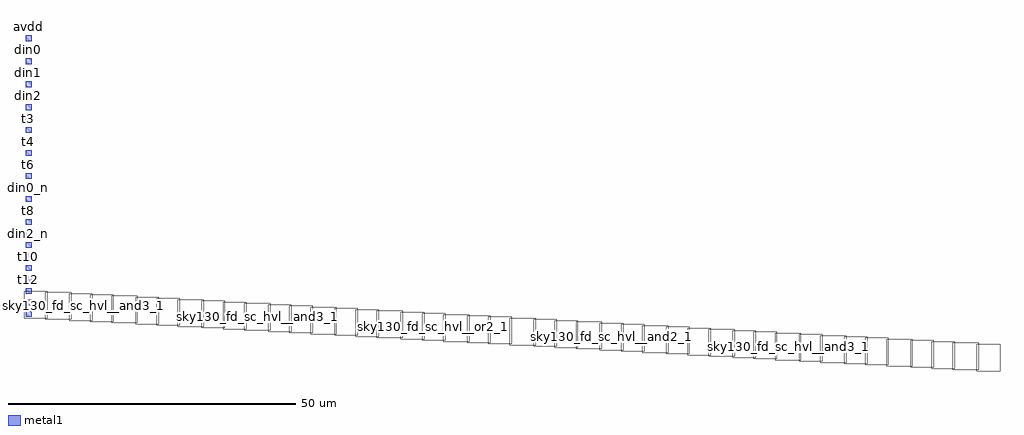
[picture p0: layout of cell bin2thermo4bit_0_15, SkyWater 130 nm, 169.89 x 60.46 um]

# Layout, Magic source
magic
tech sky130A
magscale 1 2
<< metal1 >>
rect 0 0 200 200
rect 0 -400 200 -200
rect 0 -800 200 -600
rect 0 -1200 200 -1000
rect 0 -1600 200 -1400
rect 0 -2000 200 -1800
rect 0 -2400 200 -2200
rect 0 -2800 200 -2600
rect 0 -3200 200 -3000
rect 0 -3600 200 -3400
rect 0 -4000 200 -3800
rect 0 -4400 200 -4200
rect 0 -4800 200 -4600
rect 0 -5200 200 -5000
rect 0 -5600 200 -5400
rect 0 -6000 200 -5800
rect 0 -6400 200 -6200
rect 0 -6800 200 -6600
rect 0 -7200 200 -7000
rect 0 -7600 200 -7400
rect 0 -8000 200 -7800
rect 0 -8400 200 -8200
rect 0 -8800 200 -8600
rect 0 -9200 200 -9000
rect 0 -9600 200 -9400
rect 0 -10000 200 -9800
use sky130_fd_sc_hvl__and3_1  x1 $PDKPATH/libs.ref/sky130_fd_sc_hvl/mag
transform 1 0 738 0 1 -10043
box -66 -43 834 897
use sky130_fd_sc_hvl__or2_1  x2 $PDKPATH/libs.ref/sky130_fd_sc_hvl/mag
transform 1 0 2310 0 1 -10129
box -66 -43 738 897
use sky130_fd_sc_hvl__and3_1  x3
transform 1 0 3048 0 1 -10172
box -66 -43 834 897
use sky130_fd_sc_hvl__and2_1  x4 $PDKPATH/libs.ref/sky130_fd_sc_hvl/mag
transform 1 0 3882 0 1 -10215
box -66 -43 738 897
use sky130_fd_sc_hvl__or2_1  x5
transform 1 0 0 0 1 -10000
box -66 -43 738 897
use sky130_fd_sc_hvl__or2_1  x6
transform 1 0 4620 0 1 -10258
box -66 -43 738 897
use sky130_fd_sc_hvl__and3_1  x7
transform 1 0 5358 0 1 -10301
box -66 -43 834 897
use sky130_fd_sc_hvl__and2_1  x8
transform 1 0 6192 0 1 -10344
box -66 -43 738 897
use sky130_fd_sc_hvl__or2_1  x9
transform 1 0 6930 0 1 -10387
box -66 -43 738 897
use sky130_fd_sc_hvl__and3_1  x10
transform 1 0 7668 0 1 -10430
box -66 -43 834 897
use sky130_fd_sc_hvl__and2_1  x11
transform 1 0 8502 0 1 -10473
box -66 -43 738 897
use sky130_fd_sc_hvl__or2_1  x12
transform 1 0 9240 0 1 -10516
box -66 -43 738 897
use sky130_fd_sc_hvl__and3_1  x13
transform 1 0 9978 0 1 -10559
box -66 -43 834 897
use sky130_fd_sc_hvl__and2_1  x14
transform 1 0 10812 0 1 -10602
box -66 -43 738 897
use sky130_fd_sc_hvl__or2_1  x15
transform 1 0 11550 0 1 -10645
box -66 -43 738 897
use sky130_fd_sc_hvl__and3_1  x16
transform 1 0 12288 0 1 -10688
box -66 -43 834 897
use sky130_fd_sc_hvl__and2_1  x17
transform 1 0 13122 0 1 -10731
box -66 -43 738 897
use sky130_fd_sc_hvl__or2_1  x18
transform 1 0 13860 0 1 -10774
box -66 -43 738 897
use sky130_fd_sc_hvl__and3_1  x19
transform 1 0 14598 0 1 -10817
box -66 -43 834 897
use sky130_fd_sc_hvl__and2_1  x20
transform 1 0 15432 0 1 -10860
box -66 -43 738 897
use sky130_fd_sc_hvl__or2_1  x21
transform 1 0 16170 0 1 -10903
box -66 -43 738 897
use sky130_fd_sc_hvl__and3_1  x22
transform 1 0 16908 0 1 -10946
box -66 -43 834 897
use sky130_fd_sc_hvl__and2_1  x23
transform 1 0 17742 0 1 -10989
box -66 -43 738 897
use sky130_fd_sc_hvl__or2_1  x24
transform 1 0 18480 0 1 -11032
box -66 -43 738 897
use sky130_fd_sc_hvl__and3_1  x25
transform 1 0 19218 0 1 -11075
box -66 -43 834 897
use sky130_fd_sc_hvl__and2_1  x26
transform 1 0 20052 0 1 -11118
box -66 -43 738 897
use sky130_fd_sc_hvl__or2_1  x27
transform 1 0 20790 0 1 -11161
box -66 -43 738 897
use sky130_fd_sc_hvl__and3_1  x28
transform 1 0 21528 0 1 -11204
box -66 -43 834 897
use sky130_fd_sc_hvl__and2_1  x29
transform 1 0 22362 0 1 -11247
box -66 -43 738 897
use sky130_fd_sc_hvl__or2_1  x30
transform 1 0 23100 0 1 -11290
box -66 -43 738 897
use sky130_fd_sc_hvl__and3_1  x31
transform 1 0 23838 0 1 -11333
box -66 -43 834 897
use sky130_fd_sc_hvl__and2_1  x32
transform 1 0 1572 0 1 -10086
box -66 -43 738 897
use sky130_fd_sc_hvl__and2_1  x33
transform 1 0 24672 0 1 -11376
box -66 -43 738 897
use sky130_fd_sc_hvl__or2_1  x34
transform 1 0 25410 0 1 -11419
box -66 -43 738 897
use sky130_fd_sc_hvl__and3_1  x35
transform 1 0 26148 0 1 -11462
box -66 -43 834 897
use sky130_fd_sc_hvl__and2_1  x36
transform 1 0 26982 0 1 -11505
box -66 -43 738 897
use sky130_fd_sc_hvl__and3_1  x41
transform 1 0 27720 0 1 -11548
box -66 -43 834 897
use sky130_fd_sc_hvl__and2_1  x42
transform 1 0 28554 0 1 -11591
box -66 -43 738 897
use sky130_fd_sc_hvl__or2_1  x43
transform 1 0 29292 0 1 -11634
box -66 -43 738 897
use sky130_fd_sc_hvl__and3_1  x44
transform 1 0 30030 0 1 -11677
box -66 -43 834 897
use sky130_fd_sc_hvl__and2_1  x45
transform 1 0 30864 0 1 -11720
box -66 -43 738 897
use sky130_fd_sc_hvl__or2_1  x46
transform 1 0 31602 0 1 -11763
box -66 -43 738 897
use sky130_fd_sc_hvl__and3_1  x47
transform 1 0 32340 0 1 -11806
box -66 -43 834 897
use sky130_fd_sc_hvl__and2_1  x48
transform 1 0 33174 0 1 -11849
box -66 -43 738 897
<< labels >>
flabel metal1 0 0 200 200 0 FreeSans 256 0 0 0 avdd
port 0 nsew
flabel metal1 0 -400 200 -200 0 FreeSans 256 0 0 0 avss
port 1 nsew
flabel metal1 0 -800 200 -600 0 FreeSans 256 0 0 0 din0
port 2 nsew
flabel metal1 0 -1200 200 -1000 0 FreeSans 256 0 0 0 t0
port 3 nsew
flabel metal1 0 -1600 200 -1400 0 FreeSans 256 0 0 0 din1
port 4 nsew
flabel metal1 0 -2000 200 -1800 0 FreeSans 256 0 0 0 t1
port 5 nsew
flabel metal1 0 -2400 200 -2200 0 FreeSans 256 0 0 0 din2
port 6 nsew
flabel metal1 0 -2800 200 -2600 0 FreeSans 256 0 0 0 t2
port 7 nsew
flabel metal1 0 -3200 200 -3000 0 FreeSans 256 0 0 0 t3
port 8 nsew
flabel metal1 0 -3600 200 -3400 0 FreeSans 256 0 0 0 din3
port 9 nsew
flabel metal1 0 -4000 200 -3800 0 FreeSans 256 0 0 0 t4
port 10 nsew
flabel metal1 0 -4400 200 -4200 0 FreeSans 256 0 0 0 t5
port 11 nsew
flabel metal1 0 -4800 200 -4600 0 FreeSans 256 0 0 0 t6
port 12 nsew
flabel metal1 0 -5200 200 -5000 0 FreeSans 256 0 0 0 t7
port 13 nsew
flabel metal1 0 -5600 200 -5400 0 FreeSans 256 0 0 0 din0_n
port 14 nsew
flabel metal1 0 -6000 200 -5800 0 FreeSans 256 0 0 0 din1_n
port 15 nsew
flabel metal1 0 -6400 200 -6200 0 FreeSans 256 0 0 0 t8
port 16 nsew
flabel metal1 0 -6800 200 -6600 0 FreeSans 256 0 0 0 t9
port 17 nsew
flabel metal1 0 -7200 200 -7000 0 FreeSans 256 0 0 0 din2_n
port 18 nsew
flabel metal1 0 -7600 200 -7400 0 FreeSans 256 0 0 0 din3_n
port 19 nsew
flabel metal1 0 -8000 200 -7800 0 FreeSans 256 0 0 0 t10
port 20 nsew
flabel metal1 0 -8400 200 -8200 0 FreeSans 256 0 0 0 t11
port 21 nsew
flabel metal1 0 -8800 200 -8600 0 FreeSans 256 0 0 0 t12
port 22 nsew
flabel metal1 0 -9200 200 -9000 0 FreeSans 256 0 0 0 {}
port 23 nsew
flabel metal1 0 -9600 200 -9400 0 FreeSans 256 0 0 0 t13
port 24 nsew
flabel metal1 0 -10000 200 -9800 0 FreeSans 256 0 0 0 t14
port 25 nsew
<< end >>
